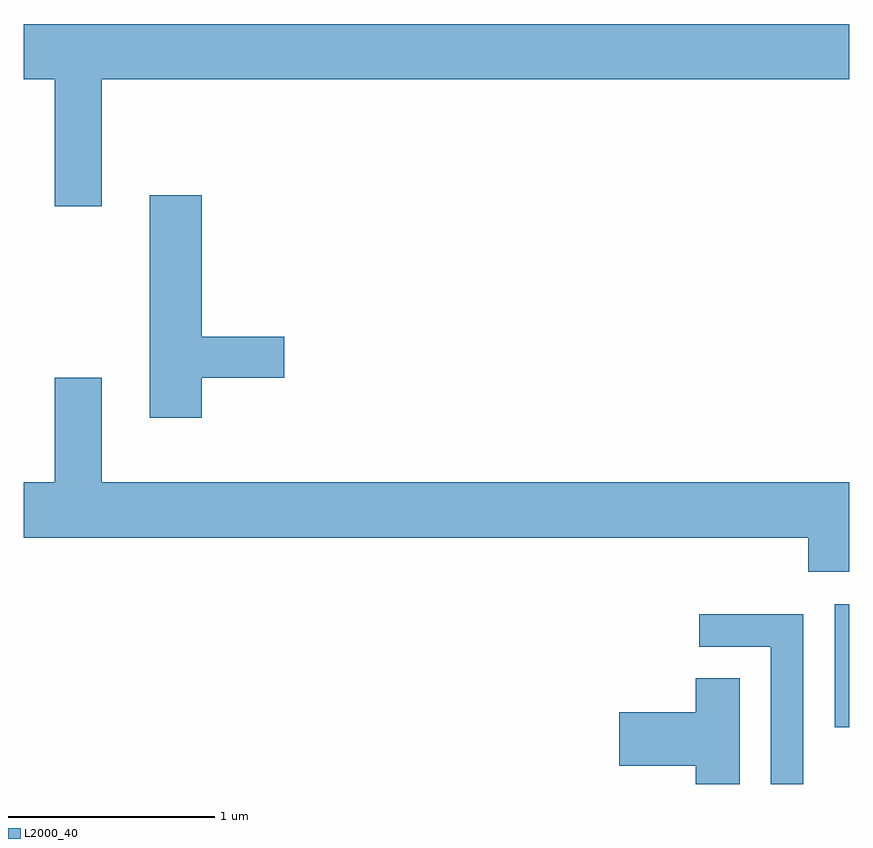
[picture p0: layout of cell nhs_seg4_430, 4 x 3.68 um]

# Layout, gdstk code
import gdstk
lib = gdstk.Library(unit=1e-6, precision=1e-09)
def R(c, l, rs):  # rectangles x0, y0, x1, y1
    for r in rs: c.add(gdstk.rectangle(r[:2], r[2:], *l))
def P(c, l, *ps):  # polygons
    for p in ps: c.add(gdstk.Polygon(p, *l))
L2000_40 = (2000, 40)

nhs_seg4_430 = lib.new_cell('nhs_seg4_430')
R(nhs_seg4_430, L2000_40, [(201.541,1298.256,201.611,1298.854)])
P(nhs_seg4_430, L2000_40, [(197.989,1301.396),(201.611,1301.396),(201.611,1301.664),(197.611,1301.664),(197.611,1301.396),(197.761,1301.396),(197.761,1300.781),(197.989,1300.781)],
  [(198.474,1299.951),(198.874,1299.951),(198.874,1300.149),(198.474,1300.149),(198.474,1300.834),(198.221,1300.834),(198.221,1299.756),(198.474,1299.756)],
  [(201.611,1299.444),(197.989,1299.444),(197.989,1299.949),(197.761,1299.949),(197.761,1299.444),(197.611,1299.444),(197.611,1299.176),(201.411,1299.176),(201.411,1299.011),(201.611,1299.011)],
  [(201.389,1298.804),(200.883,1298.804),(200.883,1298.646),(201.231,1298.646),(201.231,1297.982),(201.389,1297.982)],
  [(201.079,1298.494),(200.866,1298.494),(200.866,1298.329),(200.496,1298.329),(200.496,1298.071),(200.866,1298.071),(200.866,1297.982),(201.079,1297.982)])

lib.write_gds('nhs_seg4_430.gds')
